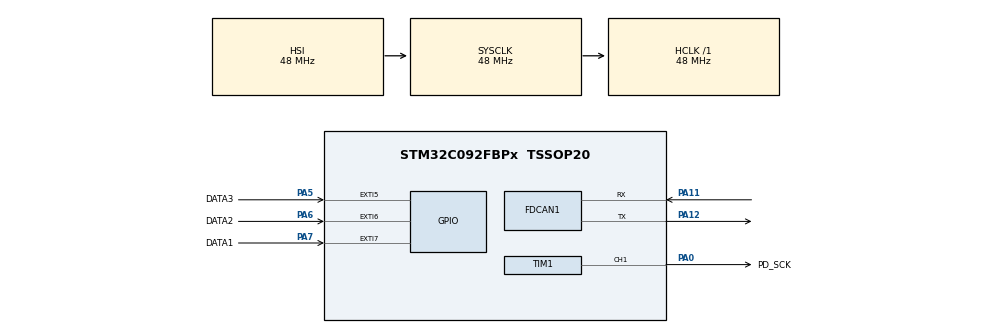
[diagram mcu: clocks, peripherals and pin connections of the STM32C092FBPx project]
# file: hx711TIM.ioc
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Dma.Request0=TIM1_CH1
Dma.TIM1_CH1.0.Direction=DMA_PERIPH_TO_MEMORY
Dma.TIM1_CH1.0.EventEnable=DISABLE
Dma.TIM1_CH1.0.Instance=DMA1_Channel1
Dma.TIM1_CH1.0.MemDataAlignment=DMA_MDATAALIGN_WORD
Dma.TIM1_CH1.0.MemInc=DMA_MINC_ENABLE
Dma.TIM1_CH1.0.Mode=DMA_NORMAL
Dma.TIM1_CH1.0.PeriphDataAlignment=DMA_PDATAALIGN_WORD
Dma.TIM1_CH1.0.PeriphInc=DMA_PINC_DISABLE
Dma.TIM1_CH1.0.Polarity=HAL_DMAMUX_REQ_GEN_RISING
Dma.TIM1_CH1.0.Priority=DMA_PRIORITY_LOW
Dma.TIM1_CH1.0.RequestNumber=1
Dma.TIM1_CH1.0.SignalID=NONE
Dma.TIM1_CH1.0.SyncEnable=DISABLE
Dma.TIM1_CH1.0.SyncPolarity=HAL_DMAMUX_SYNC_NO_EVENT
Dma.TIM1_CH1.0.SyncRequestNumber=1
Dma.TIM1_CH1.0.SyncSignalID=NONE
FDCAN1.CalculateBaudRateNominal=1000000
FDCAN1.CalculateTimeQuantumNominal=333.3333333333333
Mcu.Family=STM32C0
Mcu.Name=STM32C092FBPx
Mcu.Package=TSSOP20
NVIC.DMA1_Channel1_IRQn=true\:0\:0\:false\:false\:true\:false\:true\:true
PA0.GPIO_Label=PD_SCK
PA0.Signal=S_TIM1_CH1
PA11\ [PA9].Mode=FDCAN_Activate
PA11\ [PA9].Signal=FDCAN1_RX
PA12\ [PA10].Mode=FDCAN_Activate
PA12\ [PA10].Signal=FDCAN1_TX
PA14-BOOT0__PA15.StandardMode=true
PA5.GPIO_Label=DATA3
PA5.Signal=GPXTI5
PA6.GPIO_Label=DATA2
PA6.Signal=GPXTI6
PA7.GPIO_Label=DATA1
PA7.Signal=GPXTI7
PB0__PB1__PB2__PA8.StandardMode=true
PB3__PB4__PB5__PB6.StandardMode=true
PB7__PB8.StandardMode=true
ProjectManager.HeapSize=0x200
ProjectManager.StackSize=0x400
ProjectManager.TargetToolchain=CMake
RCC.ADCFreq_Value=48000000
RCC.AHBFreq_Value=48000000
RCC.CortexFreq_Value=48000000
RCC.EXTERNAL_CLOCK_VALUE=12288000
RCC.HCLKFreq_Value=48000000
RCC.HSE_VALUE=8000000
RCC.HSISYSCLKDivider=RCC_HSI_DIV1
RCC.HSI_VALUE=48000000
RCC.LSE_VALUE=32768
RCC.SYSCLKFreq_VALUE=48000000
SH.S_TIM1_CH1.0=TIM1_CH1,PWM Generation1 CH1
TIM1.AutoReloadPreload=TIM_AUTORELOAD_PRELOAD_ENABLE
TIM1.Channel-PWM\ Generation1\ CH1=TIM_CHANNEL_1
TIM1.OCMode_PWM-PWM\ Generation1\ CH1=TIM_OCMODE_PWM1
TIM1.Period=95
TIM1.Prescaler=0
TIM1.Pulse-PWM\ Generation1\ CH1=47
TIM1.RepetitionCounter=25-1
TIM1.TIM_MasterOutputTrigger=TIM_TRGO_RESET
TIM1.TIM_MasterSlaveMode=TIM_MASTERSLAVEMODE_ENABLE
VP_TIM1_VS_ClockSourceINT.Mode=Internal
VP_TIM1_VS_OPM.Mode=OPM_bit
board=custom

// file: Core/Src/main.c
/* USER CODE BEGIN Header */
/**
  ******************************************************************************
  * @file           : main.c
  * @brief          : Main program body
  ******************************************************************************
  * @attention
  *
  * Copyright (c) 2026 STMicroelectronics.
  * All rights reserved.
  *
  * This software is licensed under terms that can be found in the LICENSE file
  * in the root directory of this software component.
  * If no LICENSE file comes with this software, it is provided AS-IS.
  *
  ******************************************************************************
  */
/* USER CODE END Header */
#include "main.h"
#include "dma.h"
#include "fdcan.h"
#include "stm32c0xx_hal_cortex.h"
#include "stm32c0xx_hal_fdcan.h"
#include "tim.h"
#include "gpio.h"

/* USER CODE BEGIN PD */
#define SAMPLES 25
#define MODULES_NUM 3
/* USER CODE END PD */

/* USER CODE BEGIN PV */
extern DMA_HandleTypeDef hdma_tim1_ch1;
volatile int gpio_transfer_done=0;
volatile uint8_t data_ready[MODULES_NUM] = {0};
volatile uint32_t gpio_buffer[SAMPLES] = {0};
int32_t reading[MODULES_NUM] = {0};
volatile int measuring_request = 0;
int sending_data = 0;
/* USER CODE END PV */

void SystemClock_Config(void);

/* USER CODE BEGIN 0 */

void get_reading(int32_t *read){
  for(int i=0; i<MODULES_NUM; i++)
    read[i] = 0;
  for(int i=0; i<SAMPLES - 1; i++){
    for(int j=0; j<MODULES_NUM; j++){
      uint32_t one_bit = (gpio_buffer[i] >> (5+j)) & 1;
      read[j] |= (one_bit << (SAMPLES - 1 - i));  //kolejnosc MSB
    }
  }
  for(int i=0; i<MODULES_NUM; i++){
    read[i] = (read[i] << 8) >> 8;  //ustawienie bitu znaku
  }

}

void DMA_TransferCompleteCallback(DMA_HandleTypeDef *hdma){
  gpio_transfer_done = 1;
}

void HAL_GPIO_EXTI_Callback(uint16_t GPIO_Pin)
{
  switch(GPIO_Pin){
    case DATA1_Pin:
      data_ready[0] = 1;
      break;
    case DATA2_Pin:
      data_ready[1] = 1;
      break;
    case DATA3_Pin:
      data_ready[2] = 1;
      break;
  }
  if(data_ready[0] && data_ready[1] && data_ready[2]){
    measuring_request = 1;
  }
}
/* USER CODE END 0 */

int main(void)
{

  /* MCU Configuration--------------------------------------------------------*/

  /* Reset of all peripherals, Initializes the Flash interface and the Systick. */
  HAL_Init();

  /* Configure the system clock */
  SystemClock_Config();

  /* Initialize all configured peripherals */
  MX_GPIO_Init();
  MX_DMA_Init();
  MX_TIM1_Init();
  MX_FDCAN1_Init();
  /* USER CODE BEGIN 2 */
  hdma_tim1_ch1.XferCpltCallback = DMA_TransferCompleteCallback;
  HAL_FDCAN_Start(&hfdcan1);
  /* USER CODE END 2 */

  /* Infinite loop */
  /* USER CODE BEGIN WHILE */
  while (1)
  {
    if(measuring_request == 1 && sending_data == 0){
      HAL_NVIC_DisableIRQ(EXTI4_15_IRQn);
      HAL_DMA_Start_IT(&hdma_tim1_ch1, (uint32_t)&GPIOA->IDR, (uint32_t)gpio_buffer, SAMPLES);
      __HAL_TIM_ENABLE_DMA(&htim1, TIM_CHANNEL_1);
      HAL_TIM_PWM_Start(&htim1, TIM_CHANNEL_1);  //RCR=25-1
      measuring_request = 0;
      //__WFI();  //zobaczymy czy zostawic
    }
    if(gpio_transfer_done == 1){
      HAL_NVIC_EnableIRQ(EXTI4_15_IRQn);
      sending_data = 1;
      get_reading(reading);
      //zaimplementowac konwersje na [g], kalibracje
      //implementacja ramki can
      HAl_FDCAN_
      //sending data = 0 po skonczeniu wysylania na can w przerwaniu
    }
    /* USER CODE END WHILE */

  }
}

void SystemClock_Config(void)
{
  RCC_OscInitTypeDef RCC_OscInitStruct = {0};
  RCC_ClkInitTypeDef RCC_ClkInitStruct = {0};

  __HAL_FLASH_SET_LATENCY(FLASH_LATENCY_1);

  /** Initializes the RCC Oscillators according to the specified parameters
  * in the RCC_OscInitTypeDef structure.
  */
  RCC_OscInitStruct.OscillatorType = RCC_OSCILLATORTYPE_HSI;
  RCC_OscInitStruct.HSIState = RCC_HSI_ON;
  RCC_OscInitStruct.HSIDiv = RCC_HSI_DIV1;
  RCC_OscInitStruct.HSICalibrationValue = RCC_HSICALIBRATION_DEFAULT;
  if (HAL_RCC_OscConfig(&RCC_OscInitStruct) != HAL_OK)
  {
    Error_Handler();
  }

  /** Initializes the CPU, AHB and APB buses clocks
  */
  RCC_ClkInitStruct.ClockType = RCC_CLOCKTYPE_HCLK|RCC_CLOCKTYPE_SYSCLK
                              |RCC_CLOCKTYPE_PCLK1;
  RCC_ClkInitStruct.SYSCLKSource = RCC_SYSCLKSOURCE_HSI;
  RCC_ClkInitStruct.SYSCLKDivider = RCC_SYSCLK_DIV1;
  RCC_ClkInitStruct.AHBCLKDivider = RCC_HCLK_DIV1;
  RCC_ClkInitStruct.APB1CLKDivider = RCC_APB1_DIV1;

  if (HAL_RCC_ClockConfig(&RCC_ClkInitStruct, FLASH_LATENCY_1) != HAL_OK)
  {
    Error_Handler();
  }
}

void Error_Handler(void)
{
  __disable_irq();
  while (1)
  {
  }
}
